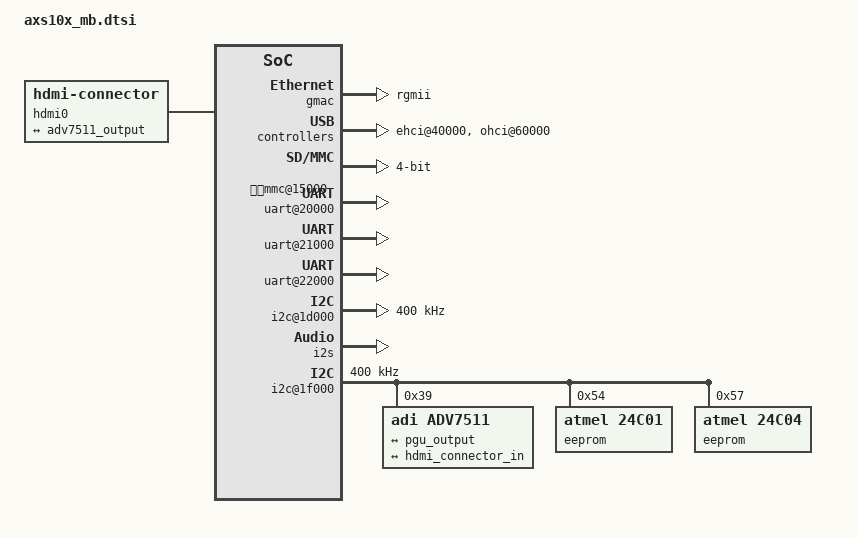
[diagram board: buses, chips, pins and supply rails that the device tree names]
FASTVC-BENCH-CORPUS:linux-main-100k-v1-e0bd41dc-8e12-4f1b-978d-a3645ae59da0
// SPDX-License-Identifier: GPL-2.0-only
/*
 * Support for peripherals on the AXS10x mainboard
 *
 * Copyright (C) 2013-15 Synopsys, Inc. (www.synopsys.com)
 */

/ {
	aliases {
		ethernet = &gmac;
	};

	axs10x_mb {
		compatible = "simple-bus";
		#address-cells = <1>;
		#size-cells = <1>;
		ranges = <0x00000000 0x0 0xe0000000 0x10000000>;
		interrupt-parent = <&mb_intc>;

		creg_rst: reset-controller@11220 {
			compatible = "snps,axs10x-reset";
			#reset-cells = <1>;
			reg = <0x11220 0x4>;
		};

		i2sclk: i2sclk@100a0 {
			compatible = "snps,axs10x-i2s-pll-clock";
			reg = <0x100a0 0x10>;
			clocks = <&i2spll_clk>;
			#clock-cells = <0>;
		};

		clocks {
			i2spll_clk: i2spll_clk {
				compatible = "fixed-clock";
				clock-frequency = <27000000>;
				#clock-cells = <0>;
			};

			i2cclk: i2cclk {
				compatible = "fixed-clock";
				clock-frequency = <50000000>;
				#clock-cells = <0>;
			};

			apbclk: apbclk {
				compatible = "fixed-clock";
				clock-frequency = <50000000>;
				#clock-cells = <0>;
			};

			mmcclk: mmcclk {
				compatible = "fixed-clock";
				/*
				 * DW sdio controller has external ciu clock divider
				 * controlled via register in SDIO IP. It divides
				 * sdio_ref_clk (which comes from CGU) by 16 for
				 * default. So default mmcclk clock (which comes
				 * to sdk_in) is 25000000 Hz.
				 */
				clock-frequency = <25000000>;
				#clock-cells = <0>;
			};
		};

		pguclk: pguclk@10080 {
			compatible = "snps,axs10x-pgu-pll-clock";
			reg = <0x10080 0x10>, <0x110 0x10>;
			#clock-cells = <0>;
			clocks = <&input_clk>;
		};

		gmac: ethernet@18000 {
			#interrupt-cells = <1>;
			compatible = "snps,dwmac";
			reg = < 0x18000 0x2000 >;
			interrupts = < 4 >;
			interrupt-names = "macirq";
			phy-mode = "rgmii";
			snps,pbl = < 32 >;
			snps,multicast-filter-bins = <256>;
			clocks = <&apbclk>;
			clock-names = "stmmaceth";
			max-speed = <100>;
			resets = <&creg_rst 5>;
			reset-names = "stmmaceth";
			mac-address = [00 00 00 00 00 00]; /* Filled in by U-Boot */
		};

		ehci@40000 {
			compatible = "generic-ehci";
			reg = < 0x40000 0x100 >;
			interrupts = < 8 >;
		};

		ohci@60000 {
			compatible = "generic-ohci";
			reg = < 0x60000 0x100 >;
			interrupts = < 8 >;
		};

		/*
		 * According to DW Mobile Storage databook it is required
		 * to use  "Hold Register" if card is enumerated in SDR12 or
		 * SDR25 modes.
		 *
		 * Utilization of "Hold Register" is already implemented via
		 * dw_mci_pltfm_prepare_command() which in its turn gets
		 * used through dw_mci_drv_data->prepare_command call-back.
		 * This call-back is used in Altera Socfpga platform and so
		 * we may reuse it saying that we're compatible with their
		 * "altr,socfpga-dw-mshc".
		 *
/* bench 25272.0.0 cc9c21a5b2b0 */
/* bench 25272.0.1 3e2643fed135 */
/* bench 25272.0.2 0e9915380bbf */
/* bench 25272.0.3 9bbe3f887ea7 */
/* bench 25272.0.4 1c7402f2e372 */
		 * dw_mci_pltfm_prepare_command() is used in generic platform
		 * code.
		 */
		mmc@15000 {
			compatible = "altr,socfpga-dw-mshc";
			reg = < 0x15000 0x400 >;
			fifo-depth = < 16 >;
			card-detect-delay = < 200 >;
			clocks = <&apbclk>, <&mmcclk>;
			clock-names = "biu", "ciu";
			interrupts = < 7 >;
			bus-width = < 4 >;
		};

		uart@20000 {
			compatible = "snps,dw-apb-uart";
			reg = <0x20000 0x100>;
			clock-frequency = <33333333>;
			interrupts = <17>;
			baud = <115200>;
			reg-shift = <2>;
			reg-io-width = <4>;
		};

		uart@21000 {
			compatible = "snps,dw-apb-uart";
			reg = <0x21000 0x100>;
			clock-frequency = <33333333>;
/* bench 1925.0.0 abd9c3403c80 */
/* bench 1925.0.1 ac278b099e6c */
/* bench 1925.0.2 046ac9aabf95 */
/* bench 1925.0.3 ed83beb6550f */
/* bench 1925.0.4 17441bb7dbc9 */
/* bench 1925.0.5 e074947e98e8 */
/* bench 1925.0.6 ac5088690a48 */
/* bench 1925.0.7 11baedd9cb7f */
/* bench 1925.0.8 d8348cab1146 */
/* bench 1925.0.9 692ec1b393b3 */
/* bench 1925.0.10 aaf0c1d278d3 */
/* bench 1925.0.11 43a6449bff15 */
/* bench 1925.0.12 eb614977c221 */
			reg-shift = <2>;
			reg-io-width = <4>;
		};

		/* UART muxed with USB data port (ttyS3) */
		uart@22000 {
			compatible = "snps,dw-apb-uart";
			reg = <0x22000 0x100>;
			clock-frequency = <33333333>;
			interrupts = <19>;
			baud = <115200>;
			reg-shift = <2>;
			reg-io-width = <4>;
		};

		i2c@1d000 {
			compatible = "snps,designware-i2c";
			reg = <0x1d000 0x100>;
			clock-frequency = <400000>;
			clocks = <&i2cclk>;
			interrupts = <14>;
		};

		i2s: i2s@1e000 {
			compatible = "snps,designware-i2s";
			reg = <0x1e000 0x100>;
			clocks = <&i2sclk 0>;
			clock-names = "i2sclk";
			interrupts = <15>;
			#sound-dai-cells = <0>;
		};

		i2c@1f000 {
			compatible = "snps,designware-i2c";
			#address-cells = <1>;
			#size-cells = <0>;
			reg = <0x1f000 0x100>;
			clock-frequency = <400000>;
			clocks = <&i2cclk>;
			interrupts = <16>;

			adv7511:adv7511@39{
				compatible="adi,adv7511";
				reg = <0x39>;
				interrupts = <23>;
				adi,input-depth = <8>;
				adi,input-colorspace = "rgb";
				adi,input-clock = "1x";
				adi,clock-delay = <0x03>;
				#sound-dai-cells = <0>;

				ports {
					#address-cells = <1>;
					#size-cells = <0>;

					/* RGB/YUV input */
					port@0 {
						reg = <0>;
						adv7511_input:endpoint {
						remote-endpoint = <&pgu_output>;
						};
					};

					/* HDMI output */
					port@1 {
						reg = <1>;
						adv7511_output: endpoint {
							remote-endpoint = <&hdmi_connector_in>;
						};
					};
				};
			};

			eeprom@54{
				compatible = "atmel,24c01";
				reg = <0x54>;
				pagesize = <0x8>;
			};

			eeprom@57{
				compatible = "atmel,24c04";
				reg = <0x57>;
				pagesize = <0x8>;
			};
		};

		hdmi0: connector {
			compatible = "hdmi-connector";
			type = "a";
			port {
				hdmi_connector_in: endpoint {
					remote-endpoint = <&adv7511_output>;
				};
			};
		};

		gpio0:gpio@13000 {
			compatible = "snps,dw-apb-gpio";
			reg = <0x13000 0x1000>;
			#address-cells = <1>;
			#size-cells = <0>;

			gpio0_banka: gpio-controller@0 {
/* bench 1696.0.0 7a4b059b56bb */
/* bench 1696.0.1 a1d231ac81ec */
/* bench 1696.0.2 891ee7436077 */
/* bench 1696.0.3 fc6bdca5a4dd */
/* bench 1696.0.4 ff8c500327e9 */
/* bench 1696.0.5 884c2f06ff89 */
/* bench 1696.0.6 119d9c6484bc */
/* bench 1696.0.7 2bd2755569b8 */
/* bench 1696.0.8 5f2d5628f765 */
/* bench 1696.0.9 14817bad67c7 */
/* bench 1696.0.10 43a151241647 */
/* bench 1696.0.11 ff3d55708f1f */
/* bench 1696.0.12 42d52a4f0b5f */
				gpio-controller;
				#gpio-cells = <2>;
				snps,nr-gpios = <32>;
				reg = <0>;
			};

			gpio0_bankb: gpio-controller@1 {
				compatible = "snps,dw-apb-gpio-port";
				gpio-controller;
				#gpio-cells = <2>;
				snps,nr-gpios = <8>;
				reg = <1>;
			};

			gpio0_bankc: gpio-controller@2 {
				compatible = "snps,dw-apb-gpio-port";
				gpio-controller;
				#gpio-cells = <2>;
				snps,nr-gpios = <8>;
				reg = <2>;
			};
		};

		gpio1:gpio@14000 {
			compatible = "snps,dw-apb-gpio";
			reg = <0x14000 0x1000>;
			#address-cells = <1>;
			#size-cells = <0>;

			gpio1_banka: gpio-controller@0 {
				compatible = "snps,dw-apb-gpio-port";
				gpio-controller;
				#gpio-cells = <2>;
				snps,nr-gpios = <30>;
				reg = <0>;
			};

			gpio1_bankb: gpio-controller@1 {
				compatible = "snps,dw-apb-gpio-port";
				gpio-controller;
				#gpio-cells = <2>;
				snps,nr-gpios = <10>;
				reg = <1>;
			};

			gpio1_bankc: gpio-controller@2 {
				compatible = "snps,dw-apb-gpio-port";
				gpio-controller;
				#gpio-cells = <2>;
				snps,nr-gpios = <8>;
				reg = <2>;
			};
		};

		pgu@17000 {
			compatible = "snps,arcpgu";
			reg = <0x17000 0x400>;
			clocks = <&pguclk>;
			clock-names = "pxlclk";
			memory-region = <&frame_buffer>;
			port {
				pgu_output: endpoint {
					remote-endpoint = <&adv7511_input>;
				};
			};
		};

		sound_playback {
			compatible = "simple-audio-card";
			simple-audio-card,name = "AXS10x HDMI Audio";
			simple-audio-card,format = "i2s";
			simple-audio-card,cpu {
				sound-dai = <&i2s>;
			};
			simple-audio-card,codec {
				sound-dai = <&adv7511>;
			};
		};
/* bench 4824.0.0 df163a1e7cde */
/* bench 4824.0.1 be2a02d2e9be */
/* bench 4824.0.2 dace045f4de8 */
};
